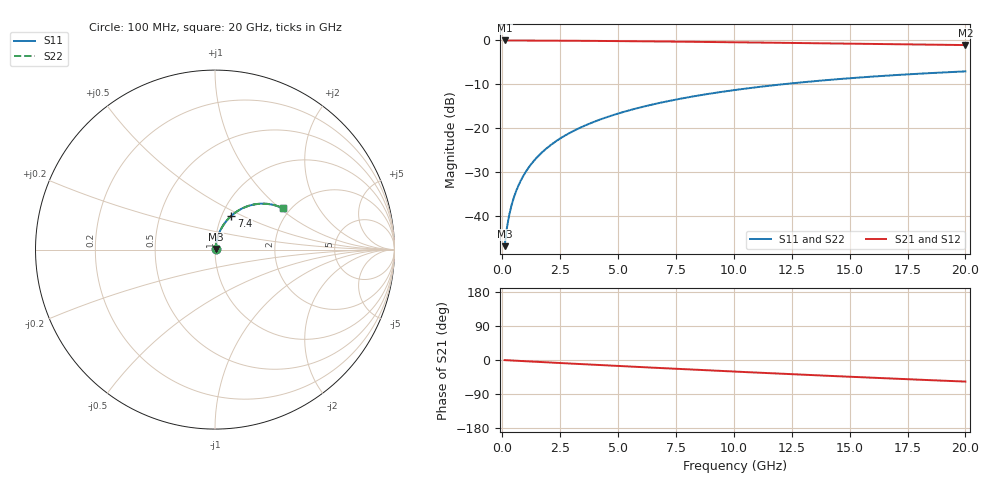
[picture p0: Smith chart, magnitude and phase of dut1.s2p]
! Touchstone file exported from HFSS 2026.1.0
!  File:  C:/ffzhzh/LocalFiles/Ansys_Project_Files/temp_train_TMRDL_1_1782879288_39248.aedt
!  Generated:  12:16:28 PM Jul  1, 2026
!  Design:  TMRDL
!  Project:  temp_train_TMRDL_1_1782879288_39248
! Variables:
!  h_bsmrdl = 2um
!  h_ox = 20um
!  h_rdl = 5um
!  h_sub = 80um
!  h_tmrdl = 5.9um
!  h_tsv = 80um
!  h_via = 3um
!  l_bsmrdl = 300um
!  l_sub = 1320.25um
!  l_tmrdl = 920.25um
!  m_sub = 200um
!  pitch = 44.25um
!  r_tsv = 6um
!  s_tmrdl = 10um
!  w_bsmrdl = 18um
!  w_sub = 500um
!  w_tmrdl = 19.4um
!  x_tsv_center1 = 929.95um
!  x_tsv_center2 = 1247.95um
!  x_tsv_center3 = 2187.6um
!  x_tsv_center4 = 2505.6um
!  x_tsv_center5 = 3445.25um
!  x_tsv_center6 = 3763.25um
# GHz S MA R 50.000000
! Terminal data exported
! Port[1] = TM_RDL1_1_T1
! Port[2] = TM_RDL1_1_T2
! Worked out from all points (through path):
!   200 points, 100 MHz to 20 GHz, reference 50 ohm
!   highest |S21| = -0.03 dB at 100 MHz (marker M1); lowest = -1.1 dB at 20 GHz (marker M2)
!   group delay of S21, straight-line fit = 7.91 ps
!   lowest |S11| = -47.0 dB at 100 MHz (marker M3), VSWR 1.01, Z = 50.3 + j0.334 ohm
!   |S11| at or under -10 dB: start of sweep to 12.15 GHz
!   |S22| runs from -47.0 to -7.1 dB; largest |S21 - S12| = 8.7e-15
!   S11 on the Smith chart (normalised r, x): 100 MHz: 1.01, +0.01; 7.4 GHz: 1.11, +0.44; 20 GHz: 1.83, +1.05
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0.1  0.004487 47.8  0.997 -0.3  0.997 -0.3  0.004487 47.8
! Gamma 0 0 0 0
! Port Impedance 50 0 50 0
0.2  0.007281 63.4  0.9968 -0.7  0.9968 -0.7  0.007281 63.4
0.3  0.01021 69.8  0.9966 -1.0  0.9966 -1.0  0.01021 69.8
0.4  0.01317 73.3  0.9964 -1.3  0.9964 -1.3  0.01317 73.3
0.5  0.01615 75.5  0.9963 -1.6  0.9963 -1.6  0.01615 75.5
0.7  0.02215 78.0  0.996 -2.3  0.996 -2.3  0.02215 78.0
0.8  0.02517 78.6  0.9959 -2.6  0.9959 -2.6  0.02517 78.6
1  0.03121 79.4  0.9956 -3.2  0.9956 -3.2  0.03121 79.4
1.2  0.03725 79.7  0.9952 -3.9  0.9952 -3.9  0.03725 79.7
1.4  0.04328 79.7  0.9947 -4.5  0.9947 -4.5  0.04328 79.7
1.7  0.05228 79.4  0.994 -5.5  0.994 -5.5  0.05228 79.4
2  0.06121 78.9  0.9932 -6.4  0.9932 -6.4  0.06121 78.9
2.7  0.08176 77.3  0.9908 -8.6  0.9908 -8.6  0.08176 77.3
3.5  0.1047 75.1  0.9877 -11.1  0.9877 -11.1  0.1047 75.2
4.2  0.1243 73.2  0.9846 -13.3  0.9846 -13.3  0.1243 73.2
5  0.1462 71.0  0.9808 -15.7  0.9808 -15.7  0.1462 71.0
6.8  0.1934 65.9  0.9712 -21.1  0.9712 -21.1  0.1934 66.0
7.4  0.2086 64.3  0.9677 -22.9  0.9677 -22.9  0.2086 64.3
10.1  0.2725 56.8  0.9505 -30.7  0.9505 -30.7  0.2725 56.9
13.4  0.3407 48.0  0.9274 -39.9  0.9274 -39.9  0.3407 48.0
16.7  0.3972 39.5  0.9044 -48.6  0.9044 -48.6  0.3972 39.5
20  0.4424 31.4  0.8832 -57.0  0.8832 -57.0  0.4423 31.4
